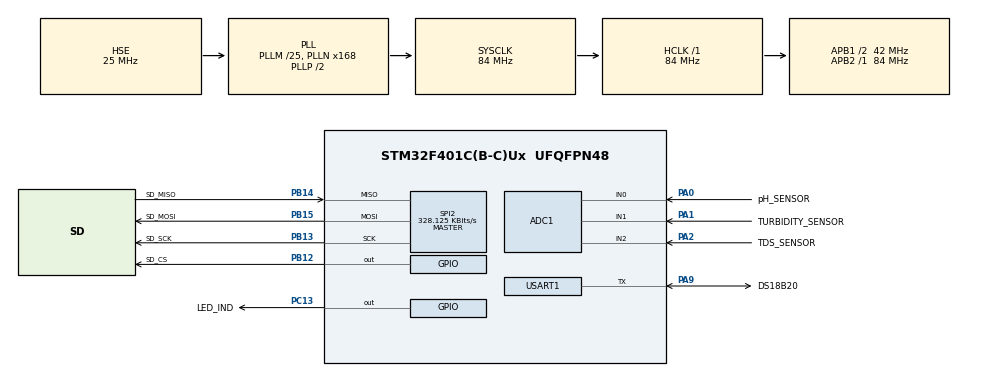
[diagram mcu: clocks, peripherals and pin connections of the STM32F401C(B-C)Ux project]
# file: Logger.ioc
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ADC1.Channel-0\#ChannelRegularConversion=ADC_CHANNEL_0
ADC1.Channel-2\#ChannelInjectedConversion=ADC_CHANNEL_1
ADC1.Channel-3\#ChannelInjectedConversion=ADC_CHANNEL_2
ADC1.ClockPrescaler=ADC_CLOCK_SYNC_PCLK_DIV8
ADC1.ContinuousConvMode=ENABLE
ADC1.DiscontinuousConvMode=DISABLE
ADC1.EOCSelection=ADC_EOC_SINGLE_CONV
ADC1.InjNumberOfConversion=2
ADC1.InjectedOffset-2\#ChannelInjectedConversion=0
ADC1.InjectedOffset-3\#ChannelInjectedConversion=0
ADC1.InjectedRank-2\#ChannelInjectedConversion=1
ADC1.InjectedRank-3\#ChannelInjectedConversion=2
ADC1.NbrOfConversion=1
ADC1.NbrOfConversionFlag=1
ADC1.Rank-0\#ChannelRegularConversion=1
ADC1.SamplingTime-0\#ChannelRegularConversion=ADC_SAMPLETIME_3CYCLES
ADC1.SamplingTime-2\#ChannelInjectedConversion=ADC_SAMPLETIME_3CYCLES
ADC1.SamplingTime-3\#ChannelInjectedConversion=ADC_SAMPLETIME_3CYCLES
ADC1.ScanConvMode=ENABLE
ADC1.master=1
Dma.Request0=SPI2_RX
Dma.Request1=SPI2_TX
Dma.SPI2_RX.0.Direction=DMA_PERIPH_TO_MEMORY
Dma.SPI2_RX.0.FIFOMode=DMA_FIFOMODE_DISABLE
Dma.SPI2_RX.0.Instance=DMA1_Stream3
Dma.SPI2_RX.0.MemDataAlignment=DMA_MDATAALIGN_BYTE
Dma.SPI2_RX.0.MemInc=DMA_MINC_ENABLE
Dma.SPI2_RX.0.Mode=DMA_NORMAL
Dma.SPI2_RX.0.PeriphDataAlignment=DMA_PDATAALIGN_BYTE
Dma.SPI2_RX.0.PeriphInc=DMA_PINC_DISABLE
Dma.SPI2_RX.0.Priority=DMA_PRIORITY_LOW
Dma.SPI2_TX.1.Direction=DMA_MEMORY_TO_PERIPH
Dma.SPI2_TX.1.FIFOMode=DMA_FIFOMODE_DISABLE
Dma.SPI2_TX.1.Instance=DMA1_Stream4
Dma.SPI2_TX.1.MemDataAlignment=DMA_MDATAALIGN_BYTE
Dma.SPI2_TX.1.MemInc=DMA_MINC_ENABLE
Dma.SPI2_TX.1.Mode=DMA_NORMAL
Dma.SPI2_TX.1.PeriphDataAlignment=DMA_PDATAALIGN_BYTE
Dma.SPI2_TX.1.PeriphInc=DMA_PINC_DISABLE
Dma.SPI2_TX.1.Priority=DMA_PRIORITY_LOW
FATFS._CODE_PAGE=866
FATFS._FS_LOCK=5
FATFS._USE_LFN=1
Mcu.Family=STM32F4
Mcu.Name=STM32F401C(B-C)Ux
Mcu.Package=UFQFPN48
NVIC.DMA1_Stream3_IRQn=true\:0\:0\:false\:false\:true\:false\:true\:true
NVIC.DMA1_Stream4_IRQn=true\:0\:0\:false\:false\:true\:false\:true\:true
NVIC.PriorityGroup=NVIC_PRIORITYGROUP_4
PA0-WKUP.GPIO_Label=pH_SENSOR
PA0-WKUP.Signal=SharedAnalog_PA0
PA1.GPIO_Label=TURBIDITY_SENSOR
PA1.Signal=SharedAnalog_PA1
PA13.Mode=Serial_Wire
PA13.Signal=SYS_JTMS-SWDIO
PA14.Mode=Serial_Wire
PA14.Signal=SYS_JTCK-SWCLK
PA2.GPIO_Label=TDS_SENSOR
PA2.Signal=SharedAnalog_PA2
PA9.GPIO_Label=DS18B20
PA9.GPIO_PuPd=GPIO_PULLUP
PA9.Mode=Half_duplex(single_wire_mode)
PA9.Signal=USART1_TX
PB12.GPIO_Label=SD_CS
PB12.Signal=GPIO_Output
PB13.GPIO_Label=SD_SCK
PB13.Mode=Full_Duplex_Master
PB13.Signal=SPI2_SCK
PB14.GPIO_Label=SD_MISO
PB14.Mode=Full_Duplex_Master
PB14.Signal=SPI2_MISO
PB15.GPIO_Label=SD_MOSI
PB15.Mode=Full_Duplex_Master
PB15.Signal=SPI2_MOSI
PC13-ANTI_TAMP.GPIO_Label=LED_IND
PC13-ANTI_TAMP.Signal=GPIO_Output
PH0\ -\ OSC_IN.Mode=HSE-External-Oscillator
PH0\ -\ OSC_IN.Signal=RCC_OSC_IN
PH1\ -\ OSC_OUT.Mode=HSE-External-Oscillator
PH1\ -\ OSC_OUT.Signal=RCC_OSC_OUT
ProjectManager.HeapSize=0x200
ProjectManager.StackSize=0x400
ProjectManager.TargetToolchain=STM32CubeIDE
RCC.48MHZClocksFreq_Value=42000000
RCC.AHBFreq_Value=84000000
RCC.APB1CLKDivider=RCC_HCLK_DIV2
RCC.APB1Freq_Value=42000000
RCC.APB1TimFreq_Value=84000000
RCC.APB2Freq_Value=84000000
RCC.APB2TimFreq_Value=84000000
RCC.CortexFreq_Value=84000000
RCC.HCLKFreq_Value=84000000
RCC.HSE_VALUE=25000000
RCC.HSI_VALUE=16000000
RCC.LSE_VALUE=32768
RCC.PLLM=25
RCC.PLLN=168
RCC.PLLSourceVirtual=RCC_PLLSOURCE_HSE
RCC.SYSCLKFreq_VALUE=84000000
RCC.SYSCLKSource=RCC_SYSCLKSOURCE_PLLCLK
RCC.VCOOutputFreq_Value=168000000
SH.SharedAnalog_PA0.0=GPIO_Analog
SH.SharedAnalog_PA0.1=ADC1_IN0,IN0
SH.SharedAnalog_PA1.0=GPIO_Analog
SH.SharedAnalog_PA1.1=ADC1_IN1,IN1
SH.SharedAnalog_PA2.0=GPIO_Analog
SH.SharedAnalog_PA2.1=ADC1_IN2,IN2
SPI2.BaudRatePrescaler=SPI_BAUDRATEPRESCALER_128
SPI2.CalculateBaudRate=328.125 KBits/s
SPI2.Direction=SPI_DIRECTION_2LINES
SPI2.Mode=SPI_MODE_MASTER
SPI2.VirtualType=VM_MASTER
USART1.VirtualMode=VM_ASYNC
VP_FATFS_VS_Generic.Mode=User_defined
board=custom

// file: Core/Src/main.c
/* USER CODE BEGIN Header */
/**
  ******************************************************************************
  * @file           : main.c
  * @brief          : Main program body
  ******************************************************************************
  * @attention
  *
  * Copyright (c) 2023 STMicroelectronics.
  * All rights reserved.
  *
  * This software is licensed under terms that can be found in the LICENSE file
  * in the root directory of this software component.
  * If no LICENSE file comes with this software, it is provided AS-IS.
  *
  ******************************************************************************
  */
/* USER CODE END Header */
#include "main.h"
#include "fatfs.h"

/* USER CODE BEGIN Includes */
#include "ds18b20.h"
/* USER CODE END Includes */

ADC_HandleTypeDef hadc1;

SPI_HandleTypeDef hspi2;
DMA_HandleTypeDef hdma_spi2_rx;
DMA_HandleTypeDef hdma_spi2_tx;

UART_HandleTypeDef huart1;

/* USER CODE BEGIN PV */
DS18B20 temperatureSensor;
pH_sensor pH;
turbidity_semsor turbidity;
uint16_t w;

/* USER CODE END PV */

void SystemClock_Config(void);
static void MX_GPIO_Init(void);
static void MX_DMA_Init(void);
static void MX_ADC1_Init(void);
static void MX_SPI2_Init(void);
static void MX_USART1_UART_Init(void);

int main(void)
{

  /* MCU Configuration--------------------------------------------------------*/

  /* Reset of all peripherals, Initializes the Flash interface and the Systick. */
  HAL_Init();

  /* Configure the system clock */
  SystemClock_Config();

  /* Initialize all configured peripherals */
  MX_GPIO_Init();
  MX_DMA_Init();
  MX_ADC1_Init();
  MX_SPI2_Init();
  MX_USART1_UART_Init();
  MX_FATFS_Init();
  /* USER CODE BEGIN 2 */
	DS18B20_Init(&temperatureSensor, &huart1);

	DS18B20_InitializationCommand(&temperatureSensor);
	DS18B20_ReadRom(&temperatureSensor);
	DS18B20_ReadScratchpad(&temperatureSensor);

	uint8_t settings[3];
	settings[0] = temperatureSensor.temperatureLimitHigh;
	settings[1] = temperatureSensor.temperatureLimitLow;
	settings[2] = DS18B20_12_BITS_CONFIG;

	DS18B20_InitializationCommand(&temperatureSensor);
	DS18B20_SkipRom(&temperatureSensor);
	DS18B20_WriteScratchpad(&temperatureSensor, settings);

  /* USER CODE END 2 */

  /* Infinite loop */
  while (1)
  {
			adc_on(&hadc1);
			DS18B20_InitializationCommand(&temperatureSensor);
			DS18B20_SkipRom(&temperatureSensor);
			DS18B20_ConvertT(&temperatureSensor, DS18B20_DATA);
			DS18B20_InitializationCommand(&temperatureSensor);
			DS18B20_SkipRom(&temperatureSensor);
			DS18B20_ReadScratchpad(&temperatureSensor);
			adc_to_pH(&pH, &hadc1);
			adc_to_turbidity(&turbidity, &hadc1, 1);
			w = HAL_ADCEx_InjectedGetValue(&hadc1, 2);
  }
}

void SystemClock_Config(void)
{
  RCC_OscInitTypeDef RCC_OscInitStruct = {0};
  RCC_ClkInitTypeDef RCC_ClkInitStruct = {0};

  /** Configure the main internal regulator output voltage
  */
  __HAL_RCC_PWR_CLK_ENABLE();
  __HAL_PWR_VOLTAGESCALING_CONFIG(PWR_REGULATOR_VOLTAGE_SCALE2);

  /** Initializes the RCC Oscillators according to the specified parameters
  * in the RCC_OscInitTypeDef structure.
  */
  RCC_OscInitStruct.OscillatorType = RCC_OSCILLATORTYPE_HSE;
  RCC_OscInitStruct.HSEState = RCC_HSE_ON;
  RCC_OscInitStruct.PLL.PLLState = RCC_PLL_ON;
  RCC_OscInitStruct.PLL.PLLSource = RCC_PLLSOURCE_HSE;
  RCC_OscInitStruct.PLL.PLLM = 25;
  RCC_OscInitStruct.PLL.PLLN = 168;
  RCC_OscInitStruct.PLL.PLLP = RCC_PLLP_DIV2;
  RCC_OscInitStruct.PLL.PLLQ = 4;
  if (HAL_RCC_OscConfig(&RCC_OscInitStruct) != HAL_OK)
  {
    Error_Handler();
  }

  /** Initializes the CPU, AHB and APB buses clocks
  */
  RCC_ClkInitStruct.ClockType = RCC_CLOCKTYPE_HCLK|RCC_CLOCKTYPE_SYSCLK
                              |RCC_CLOCKTYPE_PCLK1|RCC_CLOCKTYPE_PCLK2;
  RCC_ClkInitStruct.SYSCLKSource = RCC_SYSCLKSOURCE_PLLCLK;
  RCC_ClkInitStruct.AHBCLKDivider = RCC_SYSCLK_DIV1;
  RCC_ClkInitStruct.APB1CLKDivider = RCC_HCLK_DIV2;
  RCC_ClkInitStruct.APB2CLKDivider = RCC_HCLK_DIV1;

  if (HAL_RCC_ClockConfig(&RCC_ClkInitStruct, FLASH_LATENCY_2) != HAL_OK)
  {
    Error_Handler();
  }
}

static void MX_ADC1_Init(void)
{

  ADC_ChannelConfTypeDef sConfig = {0};
  ADC_InjectionConfTypeDef sConfigInjected = {0};

  /** Configure the global features of the ADC (Clock, Resolution, Data Alignment and number of conversion)
  */
  hadc1.Instance = ADC1;
  hadc1.Init.ClockPrescaler = ADC_CLOCK_SYNC_PCLK_DIV8;
  hadc1.Init.Resolution = ADC_RESOLUTION_12B;
  hadc1.Init.ScanConvMode = ENABLE;
  hadc1.Init.ContinuousConvMode = ENABLE;
  hadc1.Init.DiscontinuousConvMode = DISABLE;
  hadc1.Init.ExternalTrigConvEdge = ADC_EXTERNALTRIGCONVEDGE_NONE;
  hadc1.Init.ExternalTrigConv = ADC_SOFTWARE_START;
  hadc1.Init.DataAlign = ADC_DATAALIGN_RIGHT;
  hadc1.Init.NbrOfConversion = 1;
  hadc1.Init.DMAContinuousRequests = DISABLE;
  hadc1.Init.EOCSelection = ADC_EOC_SINGLE_CONV;
  if (HAL_ADC_Init(&hadc1) != HAL_OK)
  {
    Error_Handler();
  }

  /** Configure for the selected ADC regular channel its corresponding rank in the sequencer and its sample time.
  */
  sConfig.Channel = ADC_CHANNEL_0;
  sConfig.Rank = 1;
  sConfig.SamplingTime = ADC_SAMPLETIME_3CYCLES;
  if (HAL_ADC_ConfigChannel(&hadc1, &sConfig) != HAL_OK)
  {
    Error_Handler();
  }

  /** Configures for the selected ADC injected channel its corresponding rank in the sequencer and its sample time
  */
  sConfigInjected.InjectedChannel = ADC_CHANNEL_1;
  sConfigInjected.InjectedRank = 1;
  sConfigInjected.InjectedNbrOfConversion = 2;
  sConfigInjected.InjectedSamplingTime = ADC_SAMPLETIME_3CYCLES;
  sConfigInjected.ExternalTrigInjecConvEdge = ADC_EXTERNALTRIGINJECCONVEDGE_NONE;
  sConfigInjected.ExternalTrigInjecConv = ADC_INJECTED_SOFTWARE_START;
  sConfigInjected.AutoInjectedConv = DISABLE;
  sConfigInjected.InjectedDiscontinuousConvMode = DISABLE;
  sConfigInjected.InjectedOffset = 0;
  if (HAL_ADCEx_InjectedConfigChannel(&hadc1, &sConfigInjected) != HAL_OK)
  {
    Error_Handler();
  }

  /** Configures for the selected ADC injected channel its corresponding rank in the sequencer and its sample time
  */
  sConfigInjected.InjectedChannel = ADC_CHANNEL_2;
  sConfigInjected.InjectedRank = 2;
  if (HAL_ADCEx_InjectedConfigChannel(&hadc1, &sConfigInjected) != HAL_OK)
  {
    Error_Handler();
  }

}

static void MX_SPI2_Init(void)
{

  /* SPI2 parameter configuration*/
  hspi2.Instance = SPI2;
  hspi2.Init.Mode = SPI_MODE_MASTER;
  hspi2.Init.Direction = SPI_DIRECTION_2LINES;
  hspi2.Init.DataSize = SPI_DATASIZE_8BIT;
  hspi2.Init.CLKPolarity = SPI_POLARITY_LOW;
  hspi2.Init.CLKPhase = SPI_PHASE_1EDGE;
  hspi2.Init.NSS = SPI_NSS_SOFT;
  hspi2.Init.BaudRatePrescaler = SPI_BAUDRATEPRESCALER_128;
  hspi2.Init.FirstBit = SPI_FIRSTBIT_MSB;
  hspi2.Init.TIMode = SPI_TIMODE_DISABLE;
  hspi2.Init.CRCCalculation = SPI_CRCCALCULATION_DISABLE;
  hspi2.Init.CRCPolynomial = 10;
  if (HAL_SPI_Init(&hspi2) != HAL_OK)
  {
    Error_Handler();
  }

}

static void MX_USART1_UART_Init(void)
{

  huart1.Instance = USART1;
  huart1.Init.BaudRate = 115200;
  huart1.Init.WordLength = UART_WORDLENGTH_8B;
  huart1.Init.StopBits = UART_STOPBITS_1;
  huart1.Init.Parity = UART_PARITY_NONE;
  huart1.Init.Mode = UART_MODE_TX_RX;
  huart1.Init.HwFlowCtl = UART_HWCONTROL_NONE;
  huart1.Init.OverSampling = UART_OVERSAMPLING_16;
  if (HAL_HalfDuplex_Init(&huart1) != HAL_OK)
  {
    Error_Handler();
  }

}

static void MX_DMA_Init(void)
{

  /* DMA controller clock enable */
  __HAL_RCC_DMA1_CLK_ENABLE();

  /* DMA interrupt init */
  /* DMA1_Stream3_IRQn interrupt configuration */
  HAL_NVIC_SetPriority(DMA1_Stream3_IRQn, 0, 0);
  HAL_NVIC_EnableIRQ(DMA1_Stream3_IRQn);
  /* DMA1_Stream4_IRQn interrupt configuration */
  HAL_NVIC_SetPriority(DMA1_Stream4_IRQn, 0, 0);
  HAL_NVIC_EnableIRQ(DMA1_Stream4_IRQn);

}

static void MX_GPIO_Init(void)
{
  GPIO_InitTypeDef GPIO_InitStruct = {0};

  /* GPIO Ports Clock Enable */
  __HAL_RCC_GPIOC_CLK_ENABLE();
  __HAL_RCC_GPIOH_CLK_ENABLE();
  __HAL_RCC_GPIOA_CLK_ENABLE();
  __HAL_RCC_GPIOB_CLK_ENABLE();

  /*Configure GPIO pin Output Level */
  HAL_GPIO_WritePin(LED_IND_GPIO_Port, LED_IND_Pin, GPIO_PIN_RESET);

  /*Configure GPIO pin Output Level */
  HAL_GPIO_WritePin(SD_CS_GPIO_Port, SD_CS_Pin, GPIO_PIN_RESET);

  /*Configure GPIO pin : LED_IND_Pin */
  GPIO_InitStruct.Pin = LED_IND_Pin;
  GPIO_InitStruct.Mode = GPIO_MODE_OUTPUT_PP;
  GPIO_InitStruct.Pull = GPIO_NOPULL;
  GPIO_InitStruct.Speed = GPIO_SPEED_FREQ_LOW;
  HAL_GPIO_Init(LED_IND_GPIO_Port, &GPIO_InitStruct);

  /*Configure GPIO pin : SD_CS_Pin */
  GPIO_InitStruct.Pin = SD_CS_Pin;
  GPIO_InitStruct.Mode = GPIO_MODE_OUTPUT_PP;
  GPIO_InitStruct.Pull = GPIO_NOPULL;
  GPIO_InitStruct.Speed = GPIO_SPEED_FREQ_LOW;
  HAL_GPIO_Init(SD_CS_GPIO_Port, &GPIO_InitStruct);

}

void Error_Handler(void)
{
  __disable_irq();
  while (1)
  {
  }
}
